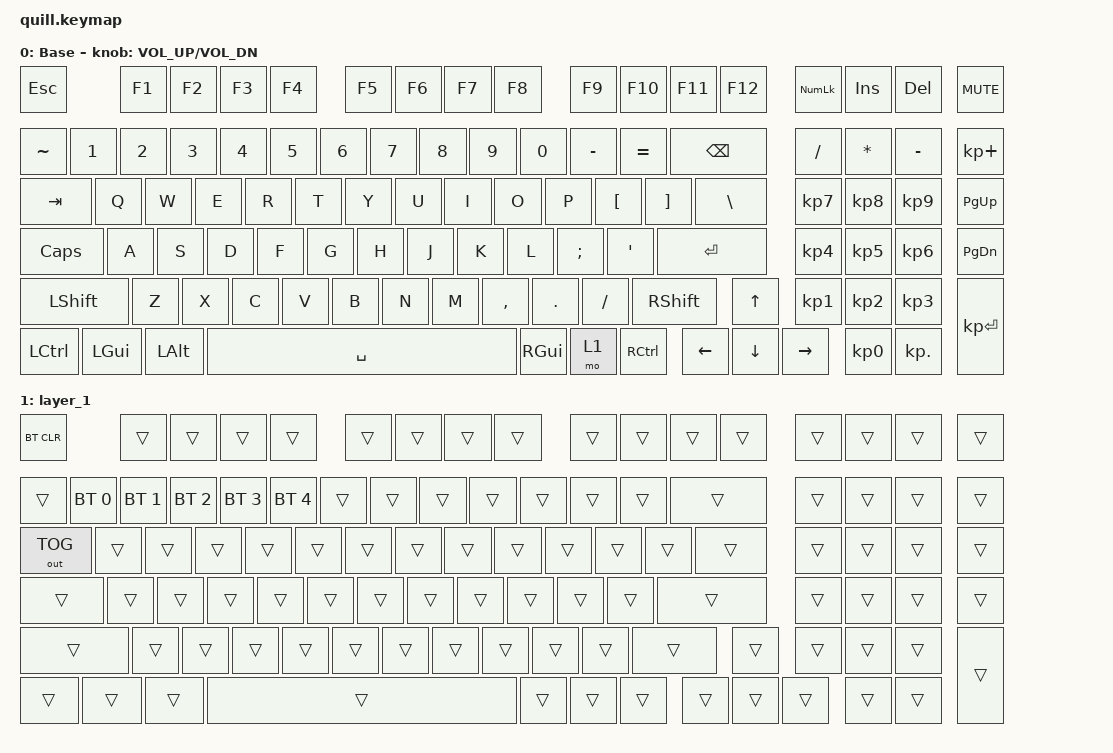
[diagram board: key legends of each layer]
#include <behaviors.dtsi>
#include <dt-bindings/zmk/bt.h>
#include <dt-bindings/zmk/keys.h>
#include <dt-bindings/zmk/outputs.h>

&sensors {
    status = "okay";
    sensors = <&right_encoder>;
};

&right_encoder { status = "okay"; };

/ {
    keymap {
        compatible = "zmk,keymap";

        default_layer {
            display-name = "Base";
            bindings = <
&kp ESCAPE      &kp F1        &kp F2        &kp F3        &kp F4                &kp F5        &kp F6  &kp F7  &kp F8     &kp F9         &kp F10           &kp F11            &kp F12                        &kp KP_NLCK      &kp INS          &kp DEL          &kp C_MUTE
&kp TILDE       &kp NUMBER_1  &kp NUMBER_2  &kp NUMBER_3  &kp NUMBER_4  &kp N5  &kp NUMBER_6  &kp N7  &kp N8  &kp N9     &kp N0         &kp MINUS         &kp EQUAL          &kp BACKSPACE                  &kp SLASH        &kp ASTERISK     &kp MINUS        &kp KP_PLUS
&kp TAB         &kp Q         &kp W         &kp E         &kp R         &kp T   &kp Y         &kp U   &kp I   &kp O      &kp P          &kp LEFT_BRACKET  &kp RIGHT_BRACKET  &kp BACKSLASH                  &kp KP_NUMBER_7  &kp KP_NUMBER_8  &kp KP_NUMBER_9  &kp PG_UP
&kp CAPSLOCK    &kp A         &kp S         &kp D         &kp F         &kp G   &kp H         &kp J   &kp K   &kp L      &kp SEMICOLON  &kp SQT                              &kp ENTER                      &kp KP_NUMBER_4  &kp KP_NUMBER_5  &kp KP_NUMBER_6  &kp PG_DN
&kp LEFT_SHIFT                &kp Z         &kp X         &kp C         &kp V   &kp B         &kp N   &kp M   &kp COMMA  &kp PERIOD     &kp SLASH         &kp RIGHT_SHIFT    &kp UP                         &kp KP_NUMBER_1  &kp KP_NUMBER_2  &kp KP_NUMBER_3  &kp KP_ENTER
&kp LCTRL       &kp LEFT_GUI  &kp LEFT_ALT                                      &kp SPACE                                &kp RIGHT_GUI  &mo 1             &kp RCTRL          &kp LEFT       &kp DOWN_ARROW  &kp RIGHT_ARROW  &kp KP_NUMBER_0  &kp KP_DOT
            >;

            sensor-bindings = <&inc_dec_kp C_VOL_UP C_VOL_DN>;
        };

        layer_1 {
            bindings = <
&bt BT_CLR    &trans        &trans        &trans        &trans                      &trans  &trans  &trans  &trans  &trans  &trans  &trans  &trans          &trans  &trans  &trans  &trans
&trans        &bt BT_SEL 0  &bt BT_SEL 1  &bt BT_SEL 2  &bt BT_SEL 3  &bt BT_SEL 4  &trans  &trans  &trans  &trans  &trans  &trans  &trans  &trans          &trans  &trans  &trans  &trans
&out OUT_TOG  &trans        &trans        &trans        &trans        &trans        &trans  &trans  &trans  &trans  &trans  &trans  &trans  &trans          &trans  &trans  &trans  &trans
&trans        &trans        &trans        &trans        &trans        &trans        &trans  &trans  &trans  &trans  &trans  &trans          &trans          &trans  &trans  &trans  &trans
&trans                      &trans        &trans        &trans        &trans        &trans  &trans  &trans  &trans  &trans  &trans  &trans  &trans          &trans  &trans  &trans  &trans
&trans        &trans        &trans                                                  &trans                          &trans  &trans  &trans  &trans  &trans  &trans  &trans  &trans
            >;
        };
    };
};
